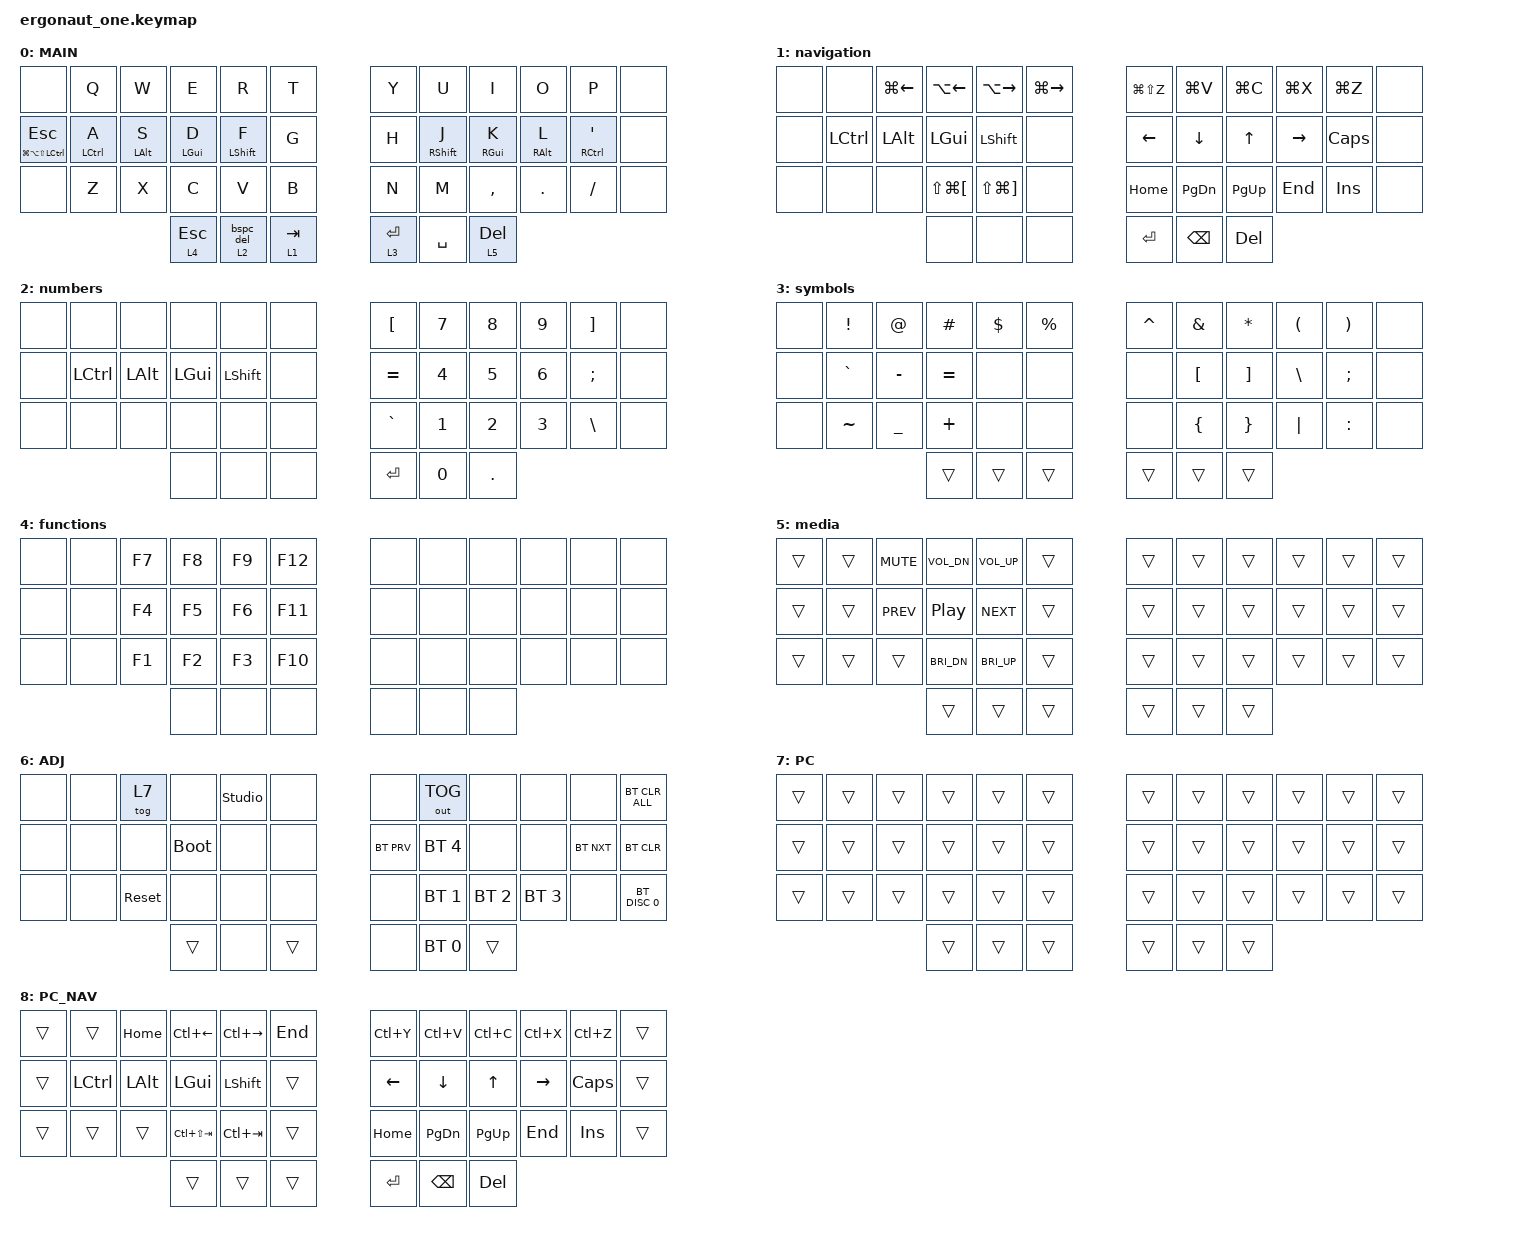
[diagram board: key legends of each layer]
#include <behaviors.dtsi>
#include <dt-bindings/zmk/bt.h>
#include <dt-bindings/zmk/keys.h>
#include <dt-bindings/zmk/outputs.h>

#define DEF 0
#define LWR 1
#define RSE 2
#define ADJ 3

&lt { quick-tap-ms = <200>; };

&mt { quick-tap-ms = <200>; };

/ {
    conditional_layers {
        compatible = "zmk,conditional-layers";

        configuration {
            if-layers = <2 5>;
            then-layer = <6>;
        };

        PC_NAV {
            if-layers = <1 7>;
            then-layer = <8>;
        };
    };

    behaviors {
        hml: hml {
            compatible = "zmk,behavior-hold-tap";
            label = "HML";
            bindings = <&kp>, <&kp>;

            #binding-cells = <2>;
            flavor = "balanced";
            tapping-term-ms = <230>;
            quick-tap-ms = <175>;
            require-prior-idle-ms = <150>;
            hold-trigger-on-release;
            hold-trigger-key-positions = <6 7 8 9 10 11 23 22 21 20 19 18 30 31 32 33 34 35 39 40 41 38 36 37>;
        };

        hmr: hmr {
            compatible = "zmk,behavior-hold-tap";
            label = "HMR";
            bindings = <&kp>, <&kp>;

            #binding-cells = <2>;
            flavor = "balanced";
            tapping-term-ms = <230>;
            quick-tap-ms = <175>;
            require-prior-idle-ms = <150>;
            hold-trigger-on-release;
            hold-trigger-key-positions = <0 1 2 3 4 5 12 13 14 15 16 17 24 25 26 27 28 29 36 37 38 39 41 40>;
        };

        hsl: hsl {
            compatible = "zmk,behavior-hold-tap";
            label = "HSL";
            bindings = <&kp>, <&kp>;

            #binding-cells = <2>;
            flavor = "balanced";
            tapping-term-ms = <200>;
            quick-tap-ms = <175>;
            hold-trigger-on-release;
            hold-trigger-key-positions = <6 7 8 9 10 11 23 22 21 20 19 18 30 31 32 33 34 35 39 40 41 38 36 37>;
        };

        hsr: hsr {
            compatible = "zmk,behavior-hold-tap";
            label = "HSR";
            bindings = <&kp>, <&kp>;

            #binding-cells = <2>;
            flavor = "balanced";
            tapping-term-ms = <200>;
            quick-tap-ms = <175>;
            hold-trigger-on-release;
            hold-trigger-key-positions = <0 1 2 3 4 5 12 13 14 15 16 17 24 25 26 27 28 29 36 37 38 39 41 40>;
        };

        bspc_del: bspc_del {
            compatible = "zmk,behavior-mod-morph";
            label = "BSPC_DEL";
            bindings = <&kp BACKSPACE>, <&kp DELETE>;

            #binding-cells = <0>;
            mods = <(MOD_LSFT|MOD_RSFT)>;
        };

        lt_bspc: lt_bspc {
            compatible = "zmk,behavior-hold-tap";
            label = "LT_BSPC";
            bindings = <&mo>, <&bspc_del>;

            #binding-cells = <2>;
            flavor = "tap-preferred";
            tapping-term-ms = <200>;
            quick-tap-ms = <200>;
        };
    };

    keymap {
        compatible = "zmk,keymap";

        Base {
            display-name = "MAIN";
            bindings = <
&none                         &kp Q         &kp W            &kp E            &kp R              &kp T      &kp Y        &kp U               &kp I             &kp O             &kp P                    &none
&mt LG(LA(LS(LCTRL))) ESCAPE  &hml LCTRL A  &hml LEFT_ALT S  &hml LEFT_GUI D  &hsl LEFT_SHIFT F  &kp G      &kp H        &hsr RIGHT_SHIFT J  &hmr RIGHT_GUI K  &hmr RIGHT_ALT L  &hmr RCTRL SINGLE_QUOTE  &none
&none                         &kp Z         &kp X            &kp C            &kp V              &kp B      &kp N        &kp M               &kp COMMA         &kp PERIOD        &kp SLASH                &none
                                                             &lt 4 ESCAPE     &lt_bspc 2 0       &lt 1 TAB  &lt 3 ENTER  &kp SPACE           &lt 5 DEL
            >;

            label = "base";
        };

        Navigation {
            bindings = <
&none  &none      &kp LG(LEFT)  &kp LA(LEFT_ARROW)  &kp LA(RIGHT)     &kp LG(RIGHT)  &kp LG(LS(Z))  &kp LG(V)      &kp LG(C)     &kp LG(X)  &kp LG(Z)     &none
&none  &kp LCTRL  &kp LEFT_ALT  &kp LEFT_GUI        &kp LEFT_SHIFT    &none          &kp LEFT       &kp DOWN       &kp UP_ARROW  &kp RIGHT  &kp CAPSLOCK  &none
&none  &none      &none         &kp LS(LG(LBKT))    &kp LS(LG(RBKT))  &none          &kp HOME       &kp PAGE_DOWN  &kp PAGE_UP   &kp END    &kp INSERT    &none
                                &none               &none             &none          &kp ENTER      &kp BACKSPACE  &kp DELETE
            >;

            label = "navigation";
        };

        Number {
            bindings = <
&none  &none      &none         &none     &none           &none  &kp LBKT   &kp N7        &kp N8        &kp N9        &kp RBKT  &none
&none  &kp LCTRL  &kp LEFT_ALT  &kp LGUI  &kp LEFT_SHIFT  &none  &kp EQUAL  &kp NUMBER_4  &kp N5        &kp NUMBER_6  &kp SEMI  &none
&none  &none      &none         &none     &none           &none  &kp GRAVE  &kp NUMBER_1  &kp NUMBER_2  &kp NUMBER_3  &kp BSLH  &none
                                &none     &none           &none  &kp ENTER  &kp N0        &kp DOT
            >;

            label = "numbers";
        };

        Symbols {
            bindings = <
&none  &kp EXCL   &kp AT     &kp HASH   &kp DOLLAR  &kp PERCENT  &kp CARET  &kp AMPS  &kp STAR  &kp LPAR  &kp RPAR   &none
&none  &kp GRAVE  &kp MINUS  &kp EQUAL  &none       &none        &none      &kp LBKT  &kp RBKT  &kp BSLH  &kp SEMI   &none
&none  &kp TILDE  &kp UNDER  &kp PLUS   &none       &none        &none      &kp LBRC  &kp RBRC  &kp PIPE  &kp COLON  &none
                             &trans     &trans      &trans       &trans     &trans    &trans
            >;

            label = "symbols";
        };

        Function {
            bindings = <
&none  &none  &kp F7  &kp F8  &kp F9  &kp F12  &none  &none  &none  &none  &none  &none
&none  &none  &kp F4  &kp F5  &kp F6  &kp F11  &none  &none  &none  &none  &none  &none
&none  &none  &kp F1  &kp F2  &kp F3  &kp F10  &none  &none  &none  &none  &none  &none
                      &none   &none   &none    &none  &none  &none
            >;

            label = "functions";
        };

        Media {
            bindings = <
&trans  &trans  &kp C_MUTE  &kp C_VOL_DN  &kp C_VOL_UP  &trans  &trans  &trans  &trans  &trans  &trans  &trans
&trans  &trans  &kp C_PREV  &kp C_PP      &kp C_NEXT    &trans  &trans  &trans  &trans  &trans  &trans  &trans
&trans  &trans  &trans      &kp C_BRI_DN  &kp C_BRI_UP  &trans  &trans  &trans  &trans  &trans  &trans  &trans
                            &trans        &trans        &trans  &trans  &trans  &trans
            >;

            label = "media";
        };

        Settings {
            display-name = "ADJ";
            bindings = <
&none  &none  &tog 7      &none        &studio_unlock  &none   &none       &out OUT_TOG  &none         &none         &none       &bt BT_CLR_ALL
&none  &none  &none       &bootloader  &none           &none   &bt BT_PRV  &bt BT_SEL 4  &none         &none         &bt BT_NXT  &bt BT_CLR
&none  &none  &sys_reset  &none        &none           &none   &none       &bt BT_SEL 1  &bt BT_SEL 2  &bt BT_SEL 3  &none       &bt BT_DISC 0
                          &trans       &none           &trans  &none       &bt BT_SEL 0  &trans
            >;

            label = "settings";
        };

        PC {
            bindings = <
&trans  &trans  &trans  &trans  &trans  &trans  &trans  &trans  &trans  &trans  &trans  &trans
&trans  &trans  &trans  &trans  &trans  &trans  &trans  &trans  &trans  &trans  &trans  &trans
&trans  &trans  &trans  &trans  &trans  &trans  &trans  &trans  &trans  &trans  &trans  &trans
                        &trans  &trans  &trans  &trans  &trans  &trans
            >;
        };

        PC_NAV {
            bindings = <
&trans  &trans     &kp HOME      &kp LC(LEFT)     &kp LC(RIGHT)   &kp END  &kp LC(Y)  &kp LC(V)      &kp LC(C)     &kp LC(X)  &kp LC(Z)     &trans
&trans  &kp LCTRL  &kp LEFT_ALT  &kp LGUI         &kp LEFT_SHIFT  &trans   &kp LEFT   &kp DOWN       &kp UP_ARROW  &kp RIGHT  &kp CAPSLOCK  &trans
&trans  &trans     &trans        &kp LC(LS(TAB))  &kp LC(TAB)     &trans   &kp HOME   &kp PAGE_DOWN  &kp PAGE_UP   &kp END    &kp INSERT    &trans
                                 &trans           &trans          &trans   &kp ENTER  &kp BACKSPACE  &kp DELETE
            >;
        };
    };
};
